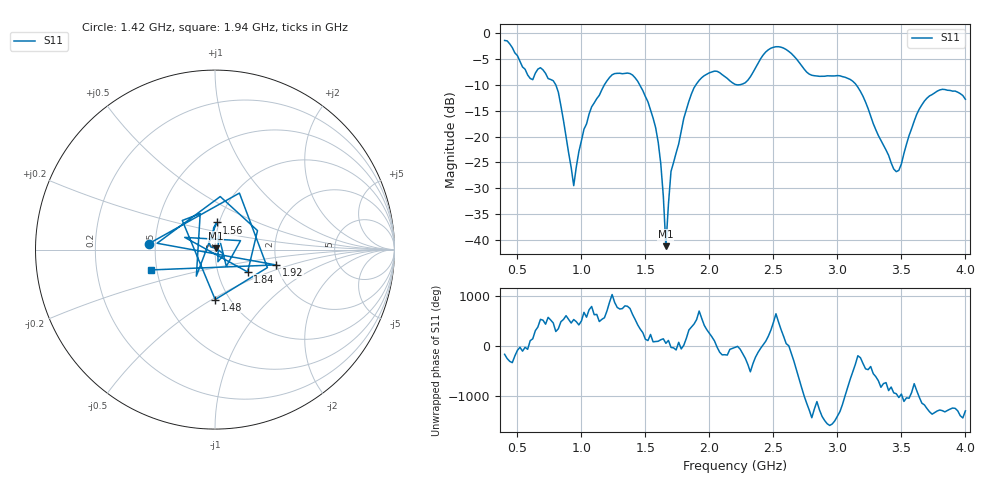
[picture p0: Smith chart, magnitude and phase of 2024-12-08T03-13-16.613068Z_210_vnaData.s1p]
!Created with skrf (http://scikit-rf.org).
# Hz S RI R 50.0
!freq ReS11 ImS11
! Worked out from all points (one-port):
!   181 points, 400 MHz to 4 GHz, reference 50 ohm
!   lowest |S11| = -41.2 dB at 1.66 GHz (marker M1), VSWR 1.02, Z = 50.5 + j0.736 ohm
!   |S11| at or under -10 dB: 800.2 MHz to 1.179 GHz (378.7 MHz wide, 38.3 % of centre); 1.455 GHz to 1.894 GHz (438.8 MHz wide, 26.2 % of centre); 3.147 GHz to end of sweep
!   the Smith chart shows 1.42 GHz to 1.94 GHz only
!   S11 on the Smith chart (normalised r, x): 1.42 GHz: 0.46, +0.04; 1.48 GHz: 0.86, -0.52; 1.56 GHz: 0.97, +0.30; 1.84 GHz: 1.39, -0.36; 1.92 GHz: 1.98, -0.38; 1.94 GHz: 0.47, -0.12
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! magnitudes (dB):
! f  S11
! 400 MHz  -1.4
! 600 MHz  -8.7
! 680 MHz  -6.7
! 780 MHz  -9.2
! 860 MHz  -16.9
! 940 MHz  -29.5
! 980 MHz  -22.9
! 1.08 GHz  -14.2
! 1.3 GHz  -7.7
! 1.42 GHz  -8.6
! 1.48 GHz  -11.1
! 1.56 GHz  -16.4
! 1.62 GHz  -25.2
! 1.66 GHz  -41.2
! 1.7 GHz  -26.7
! 1.76 GHz  -21.4
! 1.84 GHz  -13.1
! 1.92 GHz  -9.1
! 1.94 GHz  -8.6
! 2.2 GHz  -9.9
! 2.48 GHz  -2.9
! 2.66 GHz  -4.4
! 2.8 GHz  -8.1
! 3.1 GHz  -8.9
! 3.46 GHz  -26.8
! 3.56 GHz  -19.8
! 3.72 GHz  -12.1
! 4 GHz  -12.8
